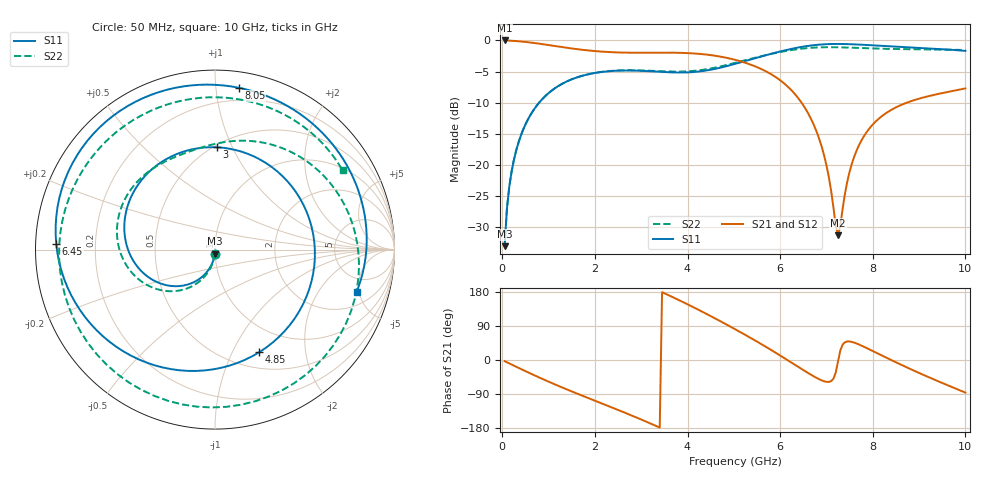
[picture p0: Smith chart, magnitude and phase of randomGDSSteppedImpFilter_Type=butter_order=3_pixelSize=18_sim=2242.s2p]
! freq	dB(S11)	phase(S11)	dB(S12)	phase(S12)
!  dB(S21)	phase(S21)	dB(S22)	phase(S22)
!S-par simulation data
#  GHz  S  DB  R 50
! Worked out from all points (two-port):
!   200 points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, 50 MHz to 10 GHz, reference 50 ohm
!   highest |S21| = 0.00 dB at 50 MHz (marker M1); lowest = -31.3 dB at 7.25 GHz (marker M2)
!   |S21| within 3 dB of the highest: start of sweep to 4.968 GHz
!   lowest |S11| = -33.1 dB at 50 MHz (marker M3), VSWR 1.05, Z = 49.8 - j2.21 ohm
!   |S11| at or under -10 dB: start of sweep to 795.8 MHz
!   |S22| runs from -33.1 to -1.1 dB; largest |S21 - S12| = 0
!   S11 on the Smith chart (normalised r, x): 50 MHz: 1.00, -0.04; 3 GHz: 0.52, +0.87; 4.85 GHz: 0.69, -1.28; 6.45 GHz: 0.06, +0.02; 8.05 GHz: 0.11, +1.15; 10 GHz: 3.24, -4.72
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0.05  -33.06 -93.3  -0.00 -3.0  -0.00 -3.0  -33.06 -92.9
0.2  -21.10 -103.2  -0.05 -11.9  -0.05 -11.9  -21.10 -101.5
0.5  -13.51 -122.1  -0.24 -29.4  -0.24 -29.4  -13.50 -117.9
1.1  -7.88 -158.0  -0.86 -62.5  -0.86 -62.5  -7.87 -148.1
1.75  -5.63 165.1  -1.52 -95.3  -1.52 -95.3  -5.62 -176.8
2.35  -4.92 130.6  -1.89 -124.4  -1.89 -124.4  -4.89 159.5
3  -4.88 88.9  -1.98 -157.0  -1.98 -157.0  -4.82 136.4
3.4  -5.04 59.5  -1.97 -178.4  -1.97 -178.4  -4.94 123.3
4.15  -5.07 -4.5  -2.10 137.9  -2.10 137.9  -4.88 99.9
4.85  -4.12 -66.5  -2.80 93.1  -2.80 93.1  -3.94 72.3
5.05  -3.72 -83.1  -3.16 79.7  -3.16 79.7  -3.56 62.0
5.5  -2.77 -117.5  -4.29 48.6  -4.29 48.6  -2.70 33.9
5.9  -1.96 -145.6  -5.87 19.4  -5.87 19.4  -2.02 2.8
6.45  -1.06 177.9  -9.87 -22.7  -9.87 -22.7  -1.34 -49.0
6.7  -0.79 161.7  -13.13 -41.4  -13.13 -41.4  -1.17 -75.2
7  -0.60 142.6  -20.07 -57.7  -20.07 -57.7  -1.09 -107.2
7.25  -0.57 127.3  -31.31 -3.1  -31.31 -3.1  -1.10 -133.4
7.55  -0.62 109.5  -19.77 47.7  -19.77 47.7  -1.17 -163.2
8.05  -0.81 81.7  -13.13 20.7  -13.13 20.7  -1.30 152.7
8.35  -0.93 65.7  -11.38 2.7  -11.38 2.7  -1.36 129.5
9.05  -1.21 29.9  -9.25 -36.9  -9.25 -36.9  -1.43 83.1
10  -1.69 -16.6  -7.71 -86.0  -7.71 -86.0  -1.55 31.8
